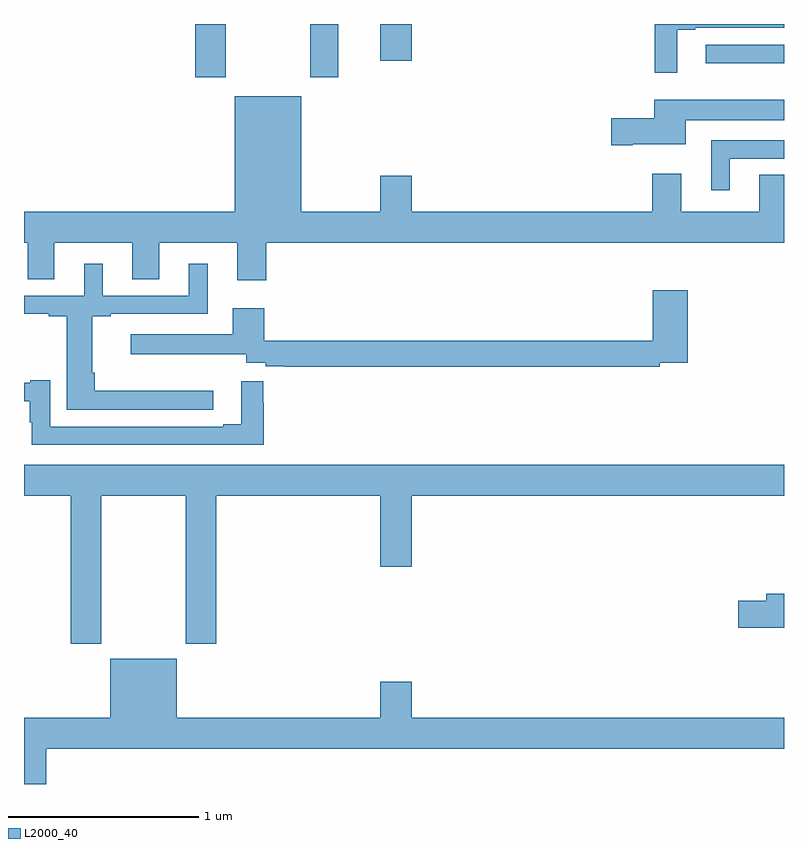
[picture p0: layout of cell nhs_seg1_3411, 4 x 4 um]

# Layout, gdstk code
import gdstk
lib = gdstk.Library(unit=1e-6, precision=1e-09)
def R(c, l, rs):  # rectangles x0, y0, x1, y1
    for r in rs: c.add(gdstk.rectangle(r[:2], r[2:], *l))
def P(c, l, *ps):  # polygons
    for p in ps: c.add(gdstk.Polygon(p, *l))
L2000_40 = (2000, 40)

nhs_seg1_3411 = lib.new_cell('nhs_seg1_3411')
R(nhs_seg1_3411, L2000_40, [(295.901,569.919,296.061,570.199), (296.506,569.919,296.653,570.199), (298.587,569.993,299,570.09), (296.876,570.006,297.04,570.199)])
P(nhs_seg1_3411, L2000_40, [(298.438,570.168),(298.534,570.168),(298.534,570.18),(299,570.18),(299,570.199),(298.321,570.199),(298.321,569.943),(298.438,569.943)],
  [(296.276,569.048),(299,569.048),(299,569.405),(298.871,569.405),(298.871,569.212),(298.459,569.212),(298.459,569.41),(298.307,569.41),(298.307,569.212),(297.04,569.212),(297.04,569.401),(296.876,569.401),(296.876,569.212),(296.458,569.212),(296.458,569.818),(296.108,569.818),(296.108,569.212),(295,569.212),(295,569.048),(295.019,569.048),(295.019,568.855),(295.159,568.855),(295.159,569.048),(295.571,569.048),(295.571,568.855),(295.711,568.855),(295.711,569.048),(296.123,569.048),(296.123,568.851),(296.276,568.851)],
  [(298.204,569.567),(298.483,569.567),(298.483,569.693),(299,569.693),(299,569.8),(298.316,569.8),(298.316,569.702),(298.092,569.702),(298.092,569.56),(298.204,569.56)],
  [(298.714,569.49),(299,569.49),(299,569.586),(298.616,569.586),(298.616,569.325),(298.714,569.325)],
  [(295.996,568.268),(295.373,568.268),(295.373,568.363),(295.36,568.363),(295.36,568.662),(295.456,568.662),(295.456,568.674),(295.966,568.674),(295.966,568.936),(295.868,568.936),(295.868,568.77),(295.414,568.77),(295.414,568.936),(295.316,568.936),(295.316,568.77),(295,568.77),(295,568.674),(295.13,568.674),(295.13,568.662),(295.226,568.662),(295.226,568.17),(295.996,568.17)],
  [(298.346,568.416),(298.493,568.416),(298.493,568.798),(298.31,568.798),(298.31,568.532),(296.265,568.532),(296.265,568.702),(296.099,568.702),(296.099,568.567),(295.563,568.567),(295.563,568.46),(296.169,568.46),(296.169,568.416),(296.272,568.416),(296.272,568.398),(296.372,568.398),(296.372,568.396),(298.346,568.396)],
  [(296.261,568.205),(296.26,568.205),(296.26,568.318),(296.144,568.318),(296.144,568.093),(296.048,568.093),(296.048,568.08),(295.137,568.08),(295.137,568.324),(295.034,568.324),(295.034,568.312),(295,568.312),(295,568.214),(295.029,568.214),(295.029,568.103),(295.04,568.103),(295.04,567.984),(296.261,567.984)],
  [(295.407,567.716),(295.852,567.716),(295.852,566.937),(296.012,566.937),(296.012,567.716),(296.876,567.716),(296.876,567.342),(297.04,567.342),(297.04,567.716),(299,567.716),(299,567.88),(295,567.88),(295,567.716),(295.247,567.716),(295.247,566.937),(295.407,566.937)],
  [(299,567.2),(298.907,567.2),(298.907,567.164),(298.758,567.164),(298.758,567.022),(299,567.022)],
  [(299,566.548),(297.04,566.548),(297.04,566.737),(296.876,566.737),(296.876,566.548),(295.804,566.548),(295.804,566.857),(295.454,566.857),(295.454,566.548),(295,566.548),(295,566.199),(295.117,566.199),(295.117,566.384),(299,566.384)])

lib.write_gds('nhs_seg1_3411.gds')
